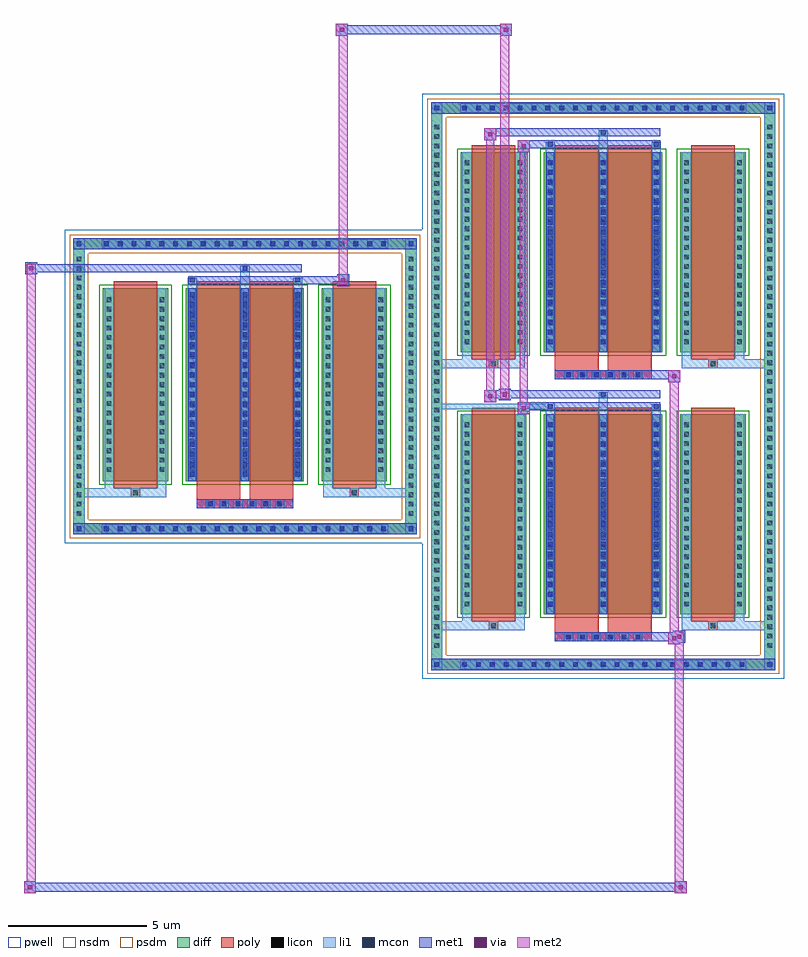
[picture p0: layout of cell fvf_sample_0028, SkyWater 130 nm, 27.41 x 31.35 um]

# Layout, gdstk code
import gdstk
lib = gdstk.Library(unit=1e-6, precision=1e-09)
def R(c, l, rs):  # rectangles x0, y0, x1, y1
    for r in rs: c.add(gdstk.rectangle(r[:2], r[2:], *l))
def A(c, l, x, y, w, h, nx, ny, dx, dy):  # array of equal rectangles
    R(c, l, [(x+i*dx, y+j*dy, x+i*dx+w, y+j*dy+h) for i in range(nx) for j in range(ny)])
def P(c, l, *ps):  # polygons
    for p in ps: c.add(gdstk.Polygon(p, *l))
pwell = (64, 44)
diff = (65, 20)
poly = (66, 20)
licon = (66, 44)
li1 = (67, 20)
mcon = (67, 44)
met1 = (68, 20)
via = (68, 44)
met2 = (69, 20)
nsdm = (93, 44)
psdm = (94, 20)

fvf_sample_0028 = lib.new_cell('fvf_sample_0028')
R(fvf_sample_0028, pwell, [(6.403,-10.552,19.441,10.552), (-6.503,-5.654,6.503,5.654)])
A(fvf_sample_0028, diff, 7.717, -10.242, 0.41, 0.41, 21, 2, 0.5, 20.074)
A(fvf_sample_0028, diff, 6.713, -9.555, 0.41, 0.41, 1, 56, 0, 0.34)
A(fvf_sample_0028, diff, 18.721, -9.555, 0.41, 0.41, 1, 56, 0, 0.34)
A(fvf_sample_0028, diff, -5.205, -5.344, 0.41, 0.41, 21, 2, 0.5, 10.278)
A(fvf_sample_0028, diff, -6.193, -4.795, 0.41, 0.41, 1, 28, 0, 0.34)
A(fvf_sample_0028, diff, 5.783, -4.795, 0.41, 0.41, 1, 28, 0, 0.34)
R(fvf_sample_0028, diff, [(7.717,-10.242,18.127,-9.832), (6.713,-9.555,7.123,9.555), (18.721,-9.555,19.131,9.555), (7.783,-8.221,10.145,-1.015), (10.785,-8.221,15.059,-1.015), (15.699,-8.221,18.061,-1.015), (-5.205,-5.344,5.205,-4.934), (-6.193,-4.795,-5.783,4.795), (5.783,-4.795,6.193,4.795), (-5.123,-3.423,-2.769,3.539), (-2.129,-3.423,2.129,3.539), (2.769,-3.423,5.123,3.539), (7.783,1.231,10.145,8.437), (10.785,1.231,15.059,8.437), (15.699,1.231,18.061,8.437), (-5.205,4.934,5.205,5.344), (7.717,9.832,18.127,10.242)])
P(fvf_sample_0028, diff, [(6.193,5.344),(-6.193,5.344),(-6.193,-4.934),(-5.783,-4.934),(-5.783,4.934),(5.783,4.934),(5.783,-4.934),(-5.783,-4.934),(-6.193,-4.934),(-6.193,-5.344),(6.193,-5.344)],
  [(19.131,10.242),(6.713,10.242),(6.713,-9.832),(7.123,-9.832),(7.123,9.832),(18.721,9.832),(18.721,-9.832),(7.123,-9.832),(6.713,-9.832),(6.713,-10.242),(19.131,-10.242)])
A(fvf_sample_0028, poly, 11.507, -9.202, 0.33, 0.33, 6, 2, 0.5, 9.452)
A(fvf_sample_0028, poly, -1.415, -4.404, 0.33, 0.33, 6, 1, 0.5, 0)
R(fvf_sample_0028, poly, [(11.175,-9.202,14.669,-8.872), (11.175,-8.872,12.757,-8.471), (13.087,-8.872,14.669,-8.471), (8.799,-8.801,9.129,-8.471), (8.799,-8.801,9.129,-8.471), (16.715,-8.801,17.045,-8.471), (16.715,-8.801,17.045,-8.471), (8.173,-8.471,9.755,-0.765), (11.175,-8.471,12.757,-0.765), (13.087,-8.471,14.669,-0.765), (16.089,-8.471,17.671,-0.765), (-1.739,-4.404,1.739,-4.074), (-1.739,-4.074,-0.165,-3.673), (0.165,-4.074,1.739,-3.673), (-4.111,-4.003,-3.781,-3.673), (-4.111,-4.003,-3.781,-3.673), (3.781,-4.003,4.111,-3.673), (3.781,-4.003,4.111,-3.673), (-4.733,-3.673,-3.159,3.789), (-1.739,-3.673,-0.165,3.789), (0.165,-3.673,1.739,3.789), (3.159,-3.673,4.733,3.789), (11.175,0.25,14.669,0.58), (11.175,0.58,12.757,0.981), (13.087,0.58,14.669,0.981), (8.799,0.651,9.129,0.981), (8.799,0.651,9.129,0.981), (16.715,0.651,17.045,0.981), (16.715,0.651,17.045,0.981), (8.173,0.981,9.755,8.687), (11.175,0.981,12.757,8.687), (13.087,0.981,14.669,8.687), (16.089,0.981,17.671,8.687)])
A(fvf_sample_0028, licon, 7.837, -10.122, 0.17, 0.17, 21, 2, 0.5, 20.074)
A(fvf_sample_0028, licon, 6.833, -9.435, 0.17, 0.17, 1, 56, 0, 0.34)
A(fvf_sample_0028, licon, 18.841, -9.435, 0.17, 0.17, 1, 56, 0, 0.34)
A(fvf_sample_0028, licon, 11.587, -9.122, 0.17, 0.17, 6, 2, 0.5, 9.452)
A(fvf_sample_0028, licon, 7.923, -7.933, 0.17, 0.17, 1, 20, 0, 0.34)
A(fvf_sample_0028, licon, 9.835, -7.933, 0.17, 0.17, 1, 20, 0, 0.34)
A(fvf_sample_0028, licon, 10.925, -7.933, 0.17, 0.17, 3, 20, 1.912, 0.34)
A(fvf_sample_0028, licon, 15.839, -7.933, 0.17, 0.17, 1, 20, 0, 0.34)
A(fvf_sample_0028, licon, 17.751, -7.933, 0.17, 0.17, 1, 20, 0, 0.34)
A(fvf_sample_0028, licon, -5.085, -5.224, 0.17, 0.17, 21, 2, 0.5, 10.278)
A(fvf_sample_0028, licon, -6.073, -4.675, 0.17, 0.17, 1, 28, 0, 0.34)
A(fvf_sample_0028, licon, 5.903, -4.675, 0.17, 0.17, 1, 28, 0, 0.34)
A(fvf_sample_0028, licon, -1.335, -4.324, 0.17, 0.17, 6, 1, 0.5, 0)
A(fvf_sample_0028, licon, -4.983, -3.087, 0.17, 0.17, 1, 19, 0, 0.34)
A(fvf_sample_0028, licon, -3.079, -3.087, 0.17, 0.17, 1, 19, 0, 0.34)
A(fvf_sample_0028, licon, -1.989, -3.087, 0.17, 0.17, 3, 19, 1.904, 0.34)
A(fvf_sample_0028, licon, 2.909, -3.087, 0.17, 0.17, 1, 19, 0, 0.34)
A(fvf_sample_0028, licon, 4.813, -3.087, 0.17, 0.17, 1, 19, 0, 0.34)
A(fvf_sample_0028, licon, 7.923, 1.519, 0.17, 0.17, 1, 20, 0, 0.34)
A(fvf_sample_0028, licon, 9.835, 1.519, 0.17, 0.17, 1, 20, 0, 0.34)
A(fvf_sample_0028, licon, 10.925, 1.519, 0.17, 0.17, 3, 20, 1.912, 0.34)
A(fvf_sample_0028, licon, 15.839, 1.519, 0.17, 0.17, 1, 20, 0, 0.34)
A(fvf_sample_0028, licon, 17.751, 1.519, 0.17, 0.17, 1, 20, 0, 0.34)
R(fvf_sample_0028, licon, [(8.879,-8.721,9.049,-8.551), (16.795,-8.721,16.965,-8.551), (-4.031,-3.923,-3.861,-3.753), (3.861,-3.923,4.031,-3.753), (8.879,0.731,9.049,0.901), (16.795,0.731,16.965,0.901)])
A(fvf_sample_0028, li1, 7.757, -10.202, 0.33, 0.33, 21, 2, 0.5, 20.074)
A(fvf_sample_0028, li1, 6.753, -9.515, 0.33, 0.33, 1, 56, 0, 0.34)
A(fvf_sample_0028, li1, 18.761, -9.515, 0.33, 0.33, 1, 56, 0, 0.34)
A(fvf_sample_0028, li1, 11.507, -9.202, 0.33, 0.33, 6, 2, 0.5, 9.452)
A(fvf_sample_0028, li1, 10.845, -8.221, 0.33, 7.206, 3, 2, 1.912, 9.452)
A(fvf_sample_0028, li1, 7.843, -8.013, 0.33, 0.33, 1, 20, 0, 0.34)
A(fvf_sample_0028, li1, 9.755, -8.013, 0.33, 0.33, 1, 20, 0, 0.34)
A(fvf_sample_0028, li1, 10.845, -8.013, 0.33, 0.33, 3, 20, 1.912, 0.34)
A(fvf_sample_0028, li1, 15.759, -8.013, 0.33, 0.33, 1, 20, 0, 0.34)
A(fvf_sample_0028, li1, 17.671, -8.013, 0.33, 0.33, 1, 20, 0, 0.34)
A(fvf_sample_0028, li1, 10.925, -7.943, 0.17, 0.17, 3, 19, 1.912, 0.36)
A(fvf_sample_0028, li1, 10.925, -7.943, 0.17, 6.65, 3, 2, 1.912, 9.452)
A(fvf_sample_0028, li1, -5.165, -5.304, 0.33, 0.33, 21, 2, 0.5, 10.278)
A(fvf_sample_0028, li1, -6.153, -4.755, 0.33, 0.33, 1, 28, 0, 0.34)
A(fvf_sample_0028, li1, 5.823, -4.755, 0.33, 0.33, 1, 28, 0, 0.34)
A(fvf_sample_0028, li1, -1.415, -4.404, 0.33, 0.33, 6, 1, 0.5, 0)
A(fvf_sample_0028, li1, -2.069, -3.423, 0.33, 6.962, 3, 1, 1.904, 0)
A(fvf_sample_0028, li1, -1.989, -3.267, 0.17, 0.17, 3, 19, 1.904, 0.36)
A(fvf_sample_0028, li1, -1.989, -3.267, 0.17, 6.65, 3, 1, 1.904, 0)
A(fvf_sample_0028, li1, -5.063, -3.167, 0.33, 0.33, 1, 19, 0, 0.34)
A(fvf_sample_0028, li1, -3.159, -3.167, 0.33, 0.33, 1, 19, 0, 0.34)
A(fvf_sample_0028, li1, -2.069, -3.167, 0.33, 0.33, 3, 19, 1.904, 0.34)
A(fvf_sample_0028, li1, 2.829, -3.167, 0.33, 0.33, 1, 19, 0, 0.34)
A(fvf_sample_0028, li1, 4.733, -3.167, 0.33, 0.33, 1, 19, 0, 0.34)
A(fvf_sample_0028, li1, 7.843, 1.439, 0.33, 0.33, 1, 20, 0, 0.34)
A(fvf_sample_0028, li1, 9.755, 1.439, 0.33, 0.33, 1, 20, 0, 0.34)
A(fvf_sample_0028, li1, 10.845, 1.439, 0.33, 0.33, 3, 20, 1.912, 0.34)
A(fvf_sample_0028, li1, 15.759, 1.439, 0.33, 0.33, 1, 20, 0, 0.34)
A(fvf_sample_0028, li1, 17.671, 1.439, 0.33, 0.33, 1, 20, 0, 0.34)
A(fvf_sample_0028, li1, 10.925, 1.509, 0.17, 0.17, 3, 19, 1.912, 0.36)
R(fvf_sample_0028, li1, [(6.713,-10.242,7.123,-9.832), (18.721,-10.242,19.131,-9.832), (7.757,-10.202,18.087,-9.872), (6.833,-10.122,7.003,-9.952), (6.833,-10.122,7.003,-9.952), (18.841,-10.122,19.011,-9.952), (18.841,-10.122,19.011,-9.952), (6.713,-9.832,7.123,9.832), (18.721,-9.832,19.131,9.832), (6.713,-8.801,8.799,-8.471), (7.843,-8.801,8.173,-8.221), (7.843,-8.801,8.799,-8.471), (8.799,-8.801,9.129,-8.471), (9.129,-8.801,10.085,-8.471), (9.755,-8.801,10.085,-8.221), (15.759,-8.801,16.089,-8.221), (15.759,-8.801,16.715,-8.471), (16.715,-8.801,17.045,-8.471), (16.715,-8.801,19.131,-8.471), (17.045,-8.801,18.001,-8.471), (17.671,-8.801,18.001,-8.221), (7.843,-8.221,8.173,-1.015), (9.755,-8.221,10.085,-1.015), (15.759,-8.221,16.089,-1.015), (17.671,-8.221,18.001,-1.015), (-6.193,-5.344,-5.783,-4.934), (5.783,-5.344,6.193,-4.934), (-5.165,-5.304,5.165,-4.974), (-6.073,-5.224,-5.903,-5.054), (-6.073,-5.224,-5.903,-5.054), (5.903,-5.224,6.073,-5.054), (5.903,-5.224,6.073,-5.054), (-6.193,-4.934,-5.783,4.934), (5.783,-4.934,6.193,4.934), (-6.193,-4.003,-4.111,-3.673), (-5.063,-4.003,-4.111,-3.673), (-5.063,-4.003,-4.733,-3.423), (-4.111,-4.003,-3.781,-3.673), (-3.781,-4.003,-2.829,-3.673), (-3.159,-4.003,-2.829,-3.423), (2.829,-4.003,3.781,-3.673), (2.829,-4.003,3.159,-3.423), (3.781,-4.003,4.111,-3.673), (3.781,-4.003,6.193,-3.673), (4.111,-4.003,5.063,-3.673), (4.733,-4.003,5.063,-3.423), (-5.063,-3.423,-4.733,3.539), (-3.159,-3.423,-2.829,3.539), (2.829,-3.423,3.159,3.539), (4.733,-3.423,5.063,3.539), (10.845,-1.015,11.175,-0.64), (12.757,-1.015,13.087,-0.21), (14.669,-1.015,14.999,-0.64), (10.865,-0.87,11.155,-0.58), (6.713,-0.825,10.865,-0.625), (10.925,-0.81,11.095,-0.64), (10.925,-0.81,11.095,-0.64), (14.749,-0.81,14.919,-0.64), (12.837,-0.38,13.007,-0.21), (6.713,0.651,8.799,0.981), (7.843,0.651,8.173,1.231), (7.843,0.651,8.799,0.981), (8.799,0.651,9.129,0.981), (9.129,0.651,10.085,0.981), (9.755,0.651,10.085,1.231), (15.759,0.651,16.089,1.231), (15.759,0.651,16.715,0.981), (16.715,0.651,17.045,0.981), (16.715,0.651,19.131,0.981), (17.045,0.651,18.001,0.981), (17.671,0.651,18.001,1.231), (7.843,1.231,8.173,8.437), (9.755,1.231,10.085,8.437), (15.759,1.231,16.089,8.437), (17.671,1.231,18.001,8.437), (-2.069,3.539,-1.739,3.914), (-0.165,3.539,0.165,4.344), (1.739,3.539,2.069,3.914), (-1.989,3.744,-1.819,3.914), (1.819,3.744,1.989,3.914), (-0.085,4.174,0.085,4.344), (-6.193,4.934,-5.783,5.344), (5.783,4.934,6.193,5.344), (-5.165,4.974,5.165,5.304), (-6.073,5.054,-5.903,5.224), (-6.073,5.054,-5.903,5.224), (5.903,5.054,6.073,5.224), (5.903,5.054,6.073,5.224), (10.845,8.437,11.175,8.812), (12.757,8.437,13.087,9.242), (14.669,8.437,14.999,8.812), (10.925,8.642,11.095,8.812), (14.749,8.642,14.919,8.812), (12.837,9.072,13.007,9.242), (6.713,9.832,7.123,10.242), (18.721,9.832,19.131,10.242), (7.757,9.872,18.087,10.202), (6.833,9.952,7.003,10.122), (6.833,9.952,7.003,10.122), (18.841,9.952,19.011,10.122), (18.841,9.952,19.011,10.122)])
A(fvf_sample_0028, mcon, 7.837, -10.122, 0.17, 0.17, 21, 2, 0.5, 20.074)
A(fvf_sample_0028, mcon, 11.587, -9.122, 0.17, 0.17, 6, 2, 0.5, 9.452)
A(fvf_sample_0028, mcon, 10.925, -7.943, 0.17, 0.17, 3, 19, 1.912, 0.36)
A(fvf_sample_0028, mcon, -5.085, -5.224, 0.17, 0.17, 21, 2, 0.5, 10.278)
A(fvf_sample_0028, mcon, -1.335, -4.324, 0.17, 0.17, 6, 1, 0.5, 0)
A(fvf_sample_0028, mcon, -1.989, -3.267, 0.17, 0.17, 3, 19, 1.904, 0.36)
A(fvf_sample_0028, mcon, 10.925, 1.509, 0.17, 0.17, 3, 19, 1.912, 0.36)
R(fvf_sample_0028, mcon, [(6.833,-10.122,7.003,-9.952), (18.841,-10.122,19.011,-9.952), (-6.073,-5.224,-5.903,-5.054), (5.903,-5.224,6.073,-5.054), (10.925,-0.81,11.095,-0.64), (10.925,-0.81,11.095,-0.64), (14.749,-0.81,14.919,-0.64), (12.837,-0.38,13.007,-0.21), (-1.989,3.744,-1.819,3.914), (1.819,3.744,1.989,3.914), (-0.085,4.174,0.085,4.344), (-6.073,5.054,-5.903,5.224), (5.903,5.054,6.073,5.224), (10.925,8.642,11.095,8.812), (14.749,8.642,14.919,8.812), (12.837,9.072,13.007,9.242), (6.833,9.952,7.003,10.122), (18.841,9.952,19.011,10.122)])
A(fvf_sample_0028, met1, 7.777, -10.182, 0.29, 0.29, 21, 2, 0.5, 20.074)
A(fvf_sample_0028, met1, 11.527, -9.182, 0.29, 0.29, 6, 2, 0.5, 9.452)
A(fvf_sample_0028, met1, 10.865, -8.221, 0.29, 7.206, 3, 2, 1.912, 9.452)
A(fvf_sample_0028, met1, 10.865, -8.003, 0.29, 0.29, 3, 19, 1.912, 0.36)
A(fvf_sample_0028, met1, -5.145, -5.284, 0.29, 0.29, 21, 2, 0.5, 10.278)
A(fvf_sample_0028, met1, -1.395, -4.384, 0.29, 0.29, 6, 1, 0.5, 0)
A(fvf_sample_0028, met1, -2.049, -3.423, 0.29, 6.962, 3, 1, 1.904, 0)
A(fvf_sample_0028, met1, -2.049, -3.327, 0.29, 0.29, 3, 19, 1.904, 0.36)
A(fvf_sample_0028, met1, 10.865, 1.449, 0.29, 0.29, 3, 19, 1.912, 0.36)
R(fvf_sample_0028, met1, [(-7.968,-18.279,-7.538,-17.849), (15.504,-18.279,15.934,-17.849), (-7.968,-18.229,15.934,-17.899), (-7.968,-17.899,-7.538,-17.849), (15.504,-17.899,15.934,-17.849), (6.713,-10.242,7.123,-9.832), (6.713,-10.242,7.123,-9.832), (7.123,-10.242,18.721,-9.832), (18.721,-10.242,19.131,-9.832), (18.721,-10.242,19.131,-9.832), (6.773,-10.182,7.063,-9.892), (18.781,-10.182,19.071,-9.892), (15.269,-9.302,15.699,-8.872), (15.454,-9.252,15.884,-8.822), (11.175,-9.202,14.669,-8.872), (14.669,-9.202,15.454,-8.872), (14.669,-9.202,15.699,-8.872), (-6.193,-5.344,-5.783,-4.934), (-6.193,-5.344,-5.783,-4.934), (-5.783,-5.344,5.783,-4.934), (5.783,-5.344,6.193,-4.934), (5.783,-5.344,6.193,-4.934), (-6.133,-5.284,-5.843,-4.994), (5.843,-5.284,6.133,-4.994), (-1.739,-4.404,1.739,-4.074), (9.835,-1.01,10.265,-0.58), (9.835,-0.87,10.865,-0.58), (10.865,-0.87,11.155,-0.58), (10.865,-0.87,11.155,-0.58), (10.865,-0.87,14.979,-0.58), (14.689,-0.87,14.979,-0.58), (8.635,-0.58,9.065,-0.15), (9.15,-0.51,9.58,-0.08), (8.635,-0.44,10.865,-0.15), (9.58,-0.44,10.865,-0.15), (10.865,-0.44,14.979,-0.15), (12.777,-0.44,13.067,-0.15), (15.269,0.15,15.699,0.58), (11.175,0.25,14.669,0.58), (14.669,0.25,15.699,0.58), (3.334,3.614,3.764,4.044), (-2.049,3.684,-1.759,3.974), (-2.049,3.684,2.049,3.974), (1.759,3.684,2.049,3.974), (2.049,3.684,3.334,3.974), (-7.918,4.044,-7.488,4.474), (-7.488,4.114,-2.049,4.404), (-2.049,4.114,2.049,4.404), (-0.145,4.114,0.145,4.404), (-6.193,4.934,-5.783,5.344), (-6.193,4.934,-5.783,5.344), (-5.783,4.934,5.783,5.344), (5.783,4.934,6.193,5.344), (5.783,4.934,6.193,5.344), (-6.133,4.994,-5.843,5.284), (5.843,4.994,6.133,5.284), (9.835,8.442,10.265,8.872), (9.835,8.582,10.865,8.872), (10.865,8.582,11.155,8.872), (10.865,8.582,14.979,8.872), (14.689,8.582,14.979,8.872), (8.635,8.872,9.065,9.302), (8.635,9.012,10.865,9.302), (10.865,9.012,14.979,9.302), (12.777,9.012,13.067,9.302), (6.713,9.832,7.123,10.242), (6.713,9.832,7.123,10.242), (7.123,9.832,18.721,10.242), (18.721,9.832,19.131,10.242), (18.721,9.832,19.131,10.242), (6.773,9.892,7.063,10.182), (18.781,9.892,19.071,10.182), (3.284,12.641,3.714,13.071), (9.2,12.641,9.63,13.071), (3.284,12.691,9.63,13.021), (3.284,13.021,3.714,13.071), (9.2,13.021,9.63,13.071)])
R(fvf_sample_0028, via, [(-7.828,-18.139,-7.678,-17.989), (15.644,-18.139,15.794,-17.989), (15.409,-9.162,15.559,-9.012), (15.594,-9.112,15.744,-8.962), (9.975,-0.87,10.125,-0.72), (8.775,-0.44,8.925,-0.29), (9.29,-0.37,9.44,-0.22), (15.409,0.29,15.559,0.44), (3.474,3.754,3.624,3.904), (-7.778,4.184,-7.628,4.334), (9.975,8.582,10.125,8.732), (8.775,9.012,8.925,9.162), (3.424,12.781,3.574,12.931), (9.34,12.781,9.49,12.931)])
R(fvf_sample_0028, met2, [(-7.968,-18.279,-7.538,-17.849), (-7.868,-18.279,-7.538,4.094), (15.504,-18.279,15.934,-17.849), (15.504,-18.279,15.834,-9.202), (-7.918,-18.229,-7.588,-17.899), (15.554,-18.229,15.884,-17.899), (15.269,-9.302,15.699,-8.872), (15.319,-9.302,15.649,0.58), (15.649,-9.302,15.699,-8.872), (15.319,-9.252,15.649,-8.922), (15.504,-9.202,15.834,-8.872), (9.835,-1.01,10.265,-0.58), (9.905,-1.01,10.195,8.872), (10.195,-1.01,10.265,-0.58), (9.885,-0.96,10.215,-0.63), (8.635,-0.58,9.065,-0.15), (8.705,-0.58,8.995,9.302), (8.995,-0.58,9.065,-0.15), (8.685,-0.53,9.015,-0.2), (9.2,-0.46,9.53,-0.13), (9.2,-0.13,9.53,13.071), (15.269,0.15,15.699,0.58), (15.649,0.15,15.699,0.58), (15.319,0.2,15.649,0.53), (3.384,3.664,3.714,3.994), (3.384,3.994,3.714,13.071), (-7.868,4.094,-7.538,4.424), (9.835,8.442,10.265,8.872), (10.195,8.442,10.265,8.872), (9.885,8.492,10.215,8.822), (8.635,8.872,9.065,9.302), (8.995,8.872,9.065,9.302), (8.685,8.922,9.015,9.252), (3.284,12.641,3.714,13.071), (9.2,12.641,9.63,13.071), (3.334,12.691,3.664,13.021), (9.25,12.691,9.58,13.021)])
R(fvf_sample_0028, nsdm, [(7.653,-8.351,10.275,-0.885), (10.655,-8.351,15.189,-0.885), (15.569,-8.351,18.191,-0.885), (-5.253,-3.553,-2.639,3.669), (-2.259,-3.553,2.259,3.669), (2.639,-3.553,5.253,3.669), (7.653,1.101,10.275,8.567), (10.655,1.101,15.189,8.567), (15.569,1.101,18.191,8.567)])
P(fvf_sample_0028, psdm, [(6.323,5.474),(-6.323,5.474),(-6.323,-4.804),(-5.653,-4.804),(-5.653,4.804),(5.653,4.804),(5.653,-4.804),(-5.653,-4.804),(-6.323,-4.804),(-6.323,-5.474),(6.323,-5.474)],
  [(19.261,10.372),(6.583,10.372),(6.583,-9.702),(7.253,-9.702),(7.253,9.702),(18.591,9.702),(18.591,-9.702),(7.253,-9.702),(6.583,-9.702),(6.583,-10.372),(19.261,-10.372)])

lib.write_gds('fvf_sample_0028.gds')
